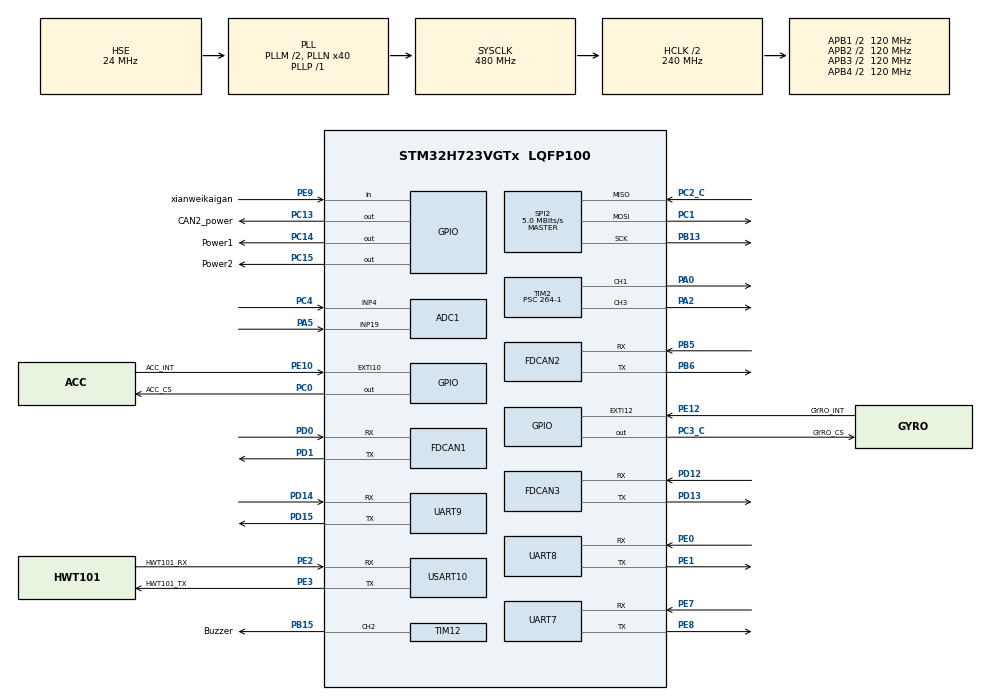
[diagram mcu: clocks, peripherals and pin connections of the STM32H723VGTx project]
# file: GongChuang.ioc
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ADC1.Channel-5\#ChannelRegularConversion=ADC_CHANNEL_4
ADC1.Channel-6\#ChannelRegularConversion=ADC_CHANNEL_19
ADC1.ClockPrescaler=ADC_CLOCK_ASYNC_DIV64
ADC1.ContinuousConvMode=ENABLE
ADC1.ConversionDataManagement=ADC_CONVERSIONDATA_DMA_CIRCULAR
ADC1.NbrOfConversion=2
ADC1.NbrOfConversionFlag=1
ADC1.OffsetNumber-5\#ChannelRegularConversion=ADC_OFFSET_NONE
ADC1.OffsetNumber-6\#ChannelRegularConversion=ADC_OFFSET_NONE
ADC1.OffsetSignedSaturation-5\#ChannelRegularConversion=DISABLE
ADC1.OffsetSignedSaturation-6\#ChannelRegularConversion=DISABLE
ADC1.Rank-5\#ChannelRegularConversion=1
ADC1.Rank-6\#ChannelRegularConversion=2
ADC1.SamplingTime-5\#ChannelRegularConversion=ADC_SAMPLETIME_32CYCLES_5
ADC1.SamplingTime-6\#ChannelRegularConversion=ADC_SAMPLETIME_32CYCLES_5
ADC1.master=1
CORTEX_M7.default_mode_Activation=0
Dma.ADC1.0.Direction=DMA_PERIPH_TO_MEMORY
Dma.ADC1.0.EventEnable=DISABLE
Dma.ADC1.0.FIFOMode=DMA_FIFOMODE_DISABLE
Dma.ADC1.0.Instance=DMA1_Stream0
Dma.ADC1.0.MemDataAlignment=DMA_MDATAALIGN_HALFWORD
Dma.ADC1.0.MemInc=DMA_MINC_ENABLE
Dma.ADC1.0.Mode=DMA_CIRCULAR
Dma.ADC1.0.PeriphDataAlignment=DMA_PDATAALIGN_HALFWORD
Dma.ADC1.0.PeriphInc=DMA_PINC_DISABLE
Dma.ADC1.0.Polarity=HAL_DMAMUX_REQ_GEN_RISING
Dma.ADC1.0.Priority=DMA_PRIORITY_LOW
Dma.ADC1.0.RequestNumber=1
Dma.ADC1.0.SignalID=NONE
Dma.ADC1.0.SyncEnable=DISABLE
Dma.ADC1.0.SyncPolarity=HAL_DMAMUX_SYNC_NO_EVENT
Dma.ADC1.0.SyncRequestNumber=1
Dma.ADC1.0.SyncSignalID=NONE
Dma.Request0=ADC1
Dma.Request1=USART10_RX
Dma.Request2=UART9_RX
Dma.Request3=UART7_RX
Dma.Request4=UART8_RX
Dma.UART7_RX.3.Direction=DMA_PERIPH_TO_MEMORY
Dma.UART7_RX.3.EventEnable=DISABLE
Dma.UART7_RX.3.FIFOMode=DMA_FIFOMODE_DISABLE
Dma.UART7_RX.3.Instance=DMA1_Stream3
Dma.UART7_RX.3.MemDataAlignment=DMA_MDATAALIGN_BYTE
Dma.UART7_RX.3.MemInc=DMA_MINC_ENABLE
Dma.UART7_RX.3.Mode=DMA_NORMAL
Dma.UART7_RX.3.PeriphDataAlignment=DMA_PDATAALIGN_BYTE
Dma.UART7_RX.3.PeriphInc=DMA_PINC_DISABLE
Dma.UART7_RX.3.Polarity=HAL_DMAMUX_REQ_GEN_RISING
Dma.UART7_RX.3.Priority=DMA_PRIORITY_HIGH
Dma.UART7_RX.3.RequestNumber=1
Dma.UART7_RX.3.SignalID=NONE
Dma.UART7_RX.3.SyncEnable=DISABLE
Dma.UART7_RX.3.SyncPolarity=HAL_DMAMUX_SYNC_NO_EVENT
Dma.UART7_RX.3.SyncRequestNumber=1
Dma.UART7_RX.3.SyncSignalID=NONE
Dma.UART8_RX.4.Direction=DMA_PERIPH_TO_MEMORY
Dma.UART8_RX.4.EventEnable=DISABLE
Dma.UART8_RX.4.FIFOMode=DMA_FIFOMODE_DISABLE
Dma.UART8_RX.4.Instance=DMA1_Stream4
Dma.UART8_RX.4.MemDataAlignment=DMA_MDATAALIGN_BYTE
Dma.UART8_RX.4.MemInc=DMA_MINC_ENABLE
Dma.UART8_RX.4.Mode=DMA_CIRCULAR
Dma.UART8_RX.4.PeriphDataAlignment=DMA_PDATAALIGN_BYTE
Dma.UART8_RX.4.PeriphInc=DMA_PINC_DISABLE
Dma.UART8_RX.4.Polarity=HAL_DMAMUX_REQ_GEN_RISING
Dma.UART8_RX.4.Priority=DMA_PRIORITY_VERY_HIGH
Dma.UART8_RX.4.RequestNumber=1
Dma.UART8_RX.4.SignalID=NONE
Dma.UART8_RX.4.SyncEnable=DISABLE
Dma.UART8_RX.4.SyncPolarity=HAL_DMAMUX_SYNC_NO_EVENT
Dma.UART8_RX.4.SyncRequestNumber=1
Dma.UART8_RX.4.SyncSignalID=NONE
Dma.UART9_RX.2.Direction=DMA_PERIPH_TO_MEMORY
Dma.UART9_RX.2.EventEnable=DISABLE
Dma.UART9_RX.2.FIFOMode=DMA_FIFOMODE_DISABLE
Dma.UART9_RX.2.Instance=DMA1_Stream2
Dma.UART9_RX.2.MemDataAlignment=DMA_MDATAALIGN_BYTE
Dma.UART9_RX.2.MemInc=DMA_MINC_ENABLE
Dma.UART9_RX.2.Mode=DMA_CIRCULAR
Dma.UART9_RX.2.PeriphDataAlignment=DMA_PDATAALIGN_BYTE
Dma.UART9_RX.2.PeriphInc=DMA_PINC_DISABLE
Dma.UART9_RX.2.Polarity=HAL_DMAMUX_REQ_GEN_RISING
Dma.UART9_RX.2.Priority=DMA_PRIORITY_VERY_HIGH
Dma.UART9_RX.2.RequestNumber=1
Dma.UART9_RX.2.SignalID=NONE
Dma.UART9_RX.2.SyncEnable=DISABLE
Dma.UART9_RX.2.SyncPolarity=HAL_DMAMUX_SYNC_NO_EVENT
Dma.UART9_RX.2.SyncRequestNumber=1
Dma.UART9_RX.2.SyncSignalID=NONE
Dma.USART10_RX.1.Direction=DMA_PERIPH_TO_MEMORY
Dma.USART10_RX.1.EventEnable=DISABLE
Dma.USART10_RX.1.FIFOMode=DMA_FIFOMODE_DISABLE
Dma.USART10_RX.1.Instance=DMA1_Stream1
Dma.USART10_RX.1.MemDataAlignment=DMA_MDATAALIGN_BYTE
Dma.USART10_RX.1.MemInc=DMA_MINC_ENABLE
Dma.USART10_RX.1.Mode=DMA_CIRCULAR
Dma.USART10_RX.1.PeriphDataAlignment=DMA_PDATAALIGN_BYTE
Dma.USART10_RX.1.PeriphInc=DMA_PINC_DISABLE
Dma.USART10_RX.1.Polarity=HAL_DMAMUX_REQ_GEN_RISING
Dma.USART10_RX.1.Priority=DMA_PRIORITY_HIGH
Dma.USART10_RX.1.RequestNumber=1
Dma.USART10_RX.1.SignalID=NONE
Dma.USART10_RX.1.SyncEnable=DISABLE
Dma.USART10_RX.1.SyncPolarity=HAL_DMAMUX_SYNC_NO_EVENT
Dma.USART10_RX.1.SyncRequestNumber=1
Dma.USART10_RX.1.SyncSignalID=NONE
FDCAN1.AutoRetransmission=ENABLE
FDCAN1.CalculateBaudRateNominal=1000000
FDCAN1.CalculateTimeBitNominal=1000
FDCAN1.CalculateTimeQuantumNominal=12.5
FDCAN1.DataSyncJumpWidth=2
FDCAN1.DataTimeSeg1=13
FDCAN1.DataTimeSeg2=2
FDCAN1.ExtFiltersNbr=4
FDCAN1.NominalPrescaler=1
FDCAN1.NominalSyncJumpWidth=20
FDCAN1.NominalTimeSeg1=59
FDCAN1.NominalTimeSeg2=20
FDCAN1.ProtocolException=ENABLE
FDCAN1.RxBuffersNbr=2
FDCAN1.RxFifo0ElmtsNbr=8
FDCAN1.RxFifo1ElmtsNbr=8
FDCAN1.StdFiltersNbr=4
FDCAN1.TxBuffersNbr=8
FDCAN1.TxEventsNbr=8
FDCAN1.TxFifoQueueElmtsNbr=8
FDCAN2.AutoRetransmission=ENABLE
FDCAN2.CalculateBaudRateNominal=1000000
FDCAN2.CalculateTimeBitNominal=1000
FDCAN2.CalculateTimeQuantumNominal=12.5
FDCAN2.DataSyncJumpWidth=2
FDCAN2.DataTimeSeg1=13
FDCAN2.ExtFiltersNbr=4
FDCAN2.MessageRAMOffset=0x406
FDCAN2.NominalPrescaler=1
FDCAN2.NominalSyncJumpWidth=20
FDCAN2.NominalTimeSeg1=59
FDCAN2.NominalTimeSeg2=20
FDCAN2.ProtocolException=ENABLE
FDCAN2.RxBuffersNbr=3
FDCAN2.RxFifo0ElmtsNbr=8
FDCAN2.RxFifo1ElmtsNbr=8
FDCAN2.StdFiltersNbr=4
FDCAN2.TxBuffersNbr=8
FDCAN2.TxEventsNbr=8
FDCAN2.TxFifoQueueElmtsNbr=8
FDCAN3.CalculateBaudRateNominal=1000000
FDCAN3.CalculateTimeBitNominal=1000
FDCAN3.CalculateTimeQuantumNominal=12.5
FDCAN3.DataSyncJumpWidth=2
FDCAN3.DataTimeSeg1=13
FDCAN3.DataTimeSeg2=2
FDCAN3.ExtFiltersNbr=4
FDCAN3.MessageRAMOffset=0x812
FDCAN3.NominalPrescaler=1
FDCAN3.NominalSyncJumpWidth=20
FDCAN3.NominalTimeSeg1=59
FDCAN3.NominalTimeSeg2=20
FDCAN3.RxBuffersNbr=2
FDCAN3.RxFifo0ElmtsNbr=8
FDCAN3.RxFifo1ElmtsNbr=8
FDCAN3.StdFiltersNbr=4
FDCAN3.TxBuffersNbr=8
FDCAN3.TxEventsNbr=8
FDCAN3.TxFifoQueueElmtsNbr=8
Mcu.Family=STM32H7
Mcu.Name=STM32H723VGTx
Mcu.Package=LQFP100
NVIC.DMA1_Stream0_IRQn=true\:0\:0\:false\:false\:true\:false\:true\:true
NVIC.DMA1_Stream1_IRQn=true\:0\:0\:false\:false\:true\:false\:true\:true
NVIC.DMA1_Stream2_IRQn=true\:0\:0\:false\:false\:true\:false\:true\:true
NVIC.DMA1_Stream3_IRQn=true\:0\:0\:false\:false\:true\:false\:true\:true
NVIC.DMA1_Stream4_IRQn=true\:0\:0\:false\:false\:true\:false\:true\:true
NVIC.FDCAN1_IT0_IRQn=true\:0\:0\:false\:false\:true\:true\:true\:true
NVIC.FDCAN1_IT1_IRQn=true\:0\:0\:false\:false\:true\:true\:true\:true
NVIC.FDCAN2_IT0_IRQn=true\:0\:0\:false\:false\:true\:true\:true\:true
NVIC.FDCAN2_IT1_IRQn=true\:0\:0\:false\:false\:true\:true\:true\:true
NVIC.PriorityGroup=NVIC_PRIORITYGROUP_4
NVIC.TIM6_DAC_IRQn=true\:1\:0\:true\:false\:true\:true\:true\:true
NVIC.TIM7_IRQn=true\:3\:0\:true\:false\:true\:true\:true\:true
NVIC.UART7_IRQn=true\:0\:0\:false\:false\:true\:true\:true\:true
NVIC.UART8_IRQn=true\:0\:0\:false\:false\:true\:true\:true\:true
NVIC.UART9_IRQn=true\:1\:0\:true\:false\:true\:true\:true\:true
NVIC.USART10_IRQn=true\:0\:0\:false\:false\:true\:true\:true\:true
PA0.Signal=S_TIM2_CH1_ETR
PA13(JTMS/SWDIO).Mode=Serial_Wire
PA13(JTMS/SWDIO).Signal=DEBUG_JTMS-SWDIO
PA14(JTCK/SWCLK).Mode=Serial_Wire
PA14(JTCK/SWCLK).Signal=DEBUG_JTCK-SWCLK
PA2.Signal=S_TIM2_CH3
PA5.Signal=ADCx_INP19
PA9.Signal=USART1_TX
PB13.GPIO_Speed=GPIO_SPEED_FREQ_VERY_HIGH
PB13.Mode=Full_Duplex_Master
PB13.Signal=SPI2_SCK
PB15.GPIO_Label=Buzzer
PB15.Signal=S_TIM12_CH2
PB5.Mode=FDCAN_Activate
PB5.Signal=FDCAN2_RX
PB6.Mode=FDCAN_Activate
PB6.Signal=FDCAN2_TX
PC0.GPIO_Label=ACC_CS
PC0.GPIO_Speed=GPIO_SPEED_FREQ_VERY_HIGH
PC0.PinState=GPIO_PIN_SET
PC0.Signal=GPIO_Output
PC1.Mode=Full_Duplex_Master
PC1.Signal=SPI2_MOSI
PC13.GPIO_Label=CAN2_power
PC13.Signal=GPIO_Output
PC14-OSC32_IN.GPIO_Label=Power1
PC14-OSC32_IN.PinState=GPIO_PIN_RESET
PC14-OSC32_IN.Signal=GPIO_Output
PC15-OSC32_OUT.GPIO_Label=Power2
PC15-OSC32_OUT.PinState=GPIO_PIN_RESET
PC15-OSC32_OUT.Signal=GPIO_Output
PC2_C.Mode=Full_Duplex_Master
PC2_C.Signal=SPI2_MISO
PC3_C.GPIO_Label=GYRO_CS
PC3_C.GPIO_Speed=GPIO_SPEED_FREQ_VERY_HIGH
PC3_C.PinState=GPIO_PIN_SET
PC3_C.Signal=GPIO_Output
PC4.Signal=ADCx_INP4
PD0.Mode=FDCAN_Activate
PD0.Signal=FDCAN1_RX
PD1.Mode=FDCAN_Activate
PD1.Signal=FDCAN1_TX
PD12.Mode=FDCAN_Activate
PD12.Signal=FDCAN3_RX
PD13.Mode=FDCAN_Activate
PD13.Signal=FDCAN3_TX
PD14.Mode=Asynchronous
PD14.Signal=UART9_RX
PD15.Mode=Asynchronous
PD15.Signal=UART9_TX
PE0.Mode=Asynchronous
PE0.Signal=UART8_RX
PE1.Mode=Asynchronous
PE1.Signal=UART8_TX
PE10.GPIO_Label=ACC_INT
PE10.Signal=GPXTI10
PE12.GPIO_Label=GYRO_INT
PE12.Signal=GPXTI12
PE2.GPIO_Label=HWT101_RX
PE2.Mode=Asynchronous
PE2.Signal=USART10_RX
PE3.GPIO_Label=HWT101_TX
PE3.Mode=Asynchronous
PE3.Signal=USART10_TX
PE7.Mode=Asynchronous
PE7.Signal=UART7_RX
PE8.Mode=Asynchronous
PE8.Signal=UART7_TX
PE9.GPIO_Label=xianweikaigan
PE9.GPIO_PuPd=GPIO_PULLUP
PE9.Signal=GPIO_Input
PH0-OSC_IN.Mode=HSE-External-Oscillator
PH0-OSC_IN.Signal=RCC_OSC_IN
PH1-OSC_OUT.Mode=HSE-External-Oscillator
PH1-OSC_OUT.Signal=RCC_OSC_OUT
ProjectManager.HeapSize=0x200
ProjectManager.StackSize=0x400
ProjectManager.TargetToolchain=MDK-ARM V5.32
RCC.ADCFreq_Value=96000000
RCC.APB1Freq_Value=120000000
RCC.APB2Freq_Value=120000000
RCC.APB3Freq_Value=120000000
RCC.APB4Freq_Value=120000000
RCC.CortexFreq_Value=480000000
RCC.D1PPRE=RCC_APB3_DIV2
RCC.D2PPRE1=RCC_APB1_DIV2
RCC.D2PPRE2=RCC_APB2_DIV2
RCC.D3PPRE=RCC_APB4_DIV2
RCC.DIVM1=2
RCC.DIVM2=2
RCC.DIVN1=40
RCC.DIVN2=16
RCC.DIVP1=1
RCC.DIVQ1=6
RCC.HCLKFreq_Value=240000000
RCC.HPRE=RCC_HCLK_DIV2
RCC.HSE_VALUE=24000000
RCC.PLL2FRACN=0
RCC.PLLFRACN=0
RCC.PLLSourceVirtual=RCC_PLLSOURCE_HSE
RCC.SYSCLKFreq_VALUE=480000000
RCC.SYSCLKSource=RCC_SYSCLKSOURCE_PLLCLK
RCC.USBFreq_Value=80000000
SH.ADCx_INP19.0=ADC1_INP19,IN19-Single-Ended
SH.ADCx_INP4.0=ADC1_INP4,IN4-Single-Ended
SH.S_TIM12_CH2.0=TIM12_CH2,PWM Generation2 CH2
SH.S_TIM2_CH1_ETR.0=TIM2_CH1,PWM Generation1 CH1
SH.S_TIM2_CH3.0=TIM2_CH3,PWM Generation3 CH3
SPI2.BaudRatePrescaler=SPI_BAUDRATEPRESCALER_16
SPI2.CLKPhase=SPI_PHASE_2EDGE
SPI2.CLKPolarity=SPI_POLARITY_HIGH
SPI2.CalculateBaudRate=5.0 MBits/s
SPI2.DataSize=SPI_DATASIZE_8BIT
SPI2.Direction=SPI_DIRECTION_2LINES
SPI2.Mode=SPI_MODE_MASTER
SPI2.VirtualType=VM_MASTER
TIM12.Channel-PWM\ Generation2\ CH2=TIM_CHANNEL_2
TIM12.Period=2000-1
TIM12.Prescaler=24-1
TIM12.Pulse-PWM\ Generation2\ CH2=0
TIM2.Channel-PWM\ Generation1\ CH1=TIM_CHANNEL_1
TIM2.Channel-PWM\ Generation3\ CH3=TIM_CHANNEL_3
TIM2.Period=20000-1
TIM2.Prescaler=264-1
TIM6.Period=240-1
TIM6.Prescaler=15000-1
TIM7.Period=240-1
TIM7.Prescaler=20000-1
USART10.VirtualMode=VM_ASYNC
VP_TIM6_VS_ClockSourceINT.Mode=Enable_Timer
VP_TIM7_VS_ClockSourceINT.Mode=Enable_Timer
board=custom

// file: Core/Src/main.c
/* USER CODE BEGIN Header */
/**
 ******************************************************************************
 * @file           : main.c
 * @brief          : Main program body
 ******************************************************************************
 * @attention
 *
 * Copyright (c) 2024 STMicroelectronics.
 * All rights reserved.
 *
 * This software is licensed under terms that can be found in the LICENSE file
 * in the root directory of this software component.
 * If no LICENSE file comes with this software, it is provided AS-IS.
 *
 ******************************************************************************
 */
/* USER CODE END Header */
#include "main.h"
#include "adc.h"
#include "dma.h"
#include "fdcan.h"
#include "spi.h"
#include "tim.h"
#include "usart.h"
#include "gpio.h"

/* USER CODE BEGIN Includes */

#include "PowerWarning.h"
#include "Hardware_Task.h"
#include "Task_Management.h"
#include "bsp_fdcan.h"
#include "dm4310_drv.h"
#include "Motor_can.h"
#include "BMI088driver.h"
#include "BMI088reg.h"
#include "BMI088Middleware.h"
#include "MahonyAHRS.h"
#include "MyClaw.h"
#include "MyCarControl.h"
#include "MyLift.h"
#include "MyTurnPlate.h"
#include "MyArm.h"
/* USER CODE END Includes */

/* USER CODE BEGIN PV */
// 电源检测
uint16_t adc_val[2];
float vbus;
// 串口DMA空闲中断配置

uint8_t UART10_RX_BUF[UART10_RX_LEN];        // 缓存一
uint8_t UART10_RX_Second_BUF[UART10_RX_LEN]; // 缓存二
__IO uint16_t UART10_RX_STA = 0;             // 字节数

uint8_t UART7_RX_BUF[UART7_RX_LEN];        // 缓存一
uint8_t UART7_RX_Second_BUF[UART7_RX_LEN]; // 缓存二
__IO uint16_t UART7_RX_STA = 0;             // 字节数

uint8_t UART9_RX_BUF[UART9_RX_LEN];        // 缓存一
uint8_t UART9_RX_Second_BUF[UART9_RX_LEN]; // 缓存二
__IO uint16_t UART9_RX_STA = 0;             // 字节数

char UART9_flag=0;

uint8_t UART8_RX_BUF[UART8_RX_LEN];//缓存一
uint8_t UART8_RX_Second_BUF[UART8_RX_LEN];//缓存二
__IO uint16_t UART8_RX_STA = 0;	 //字节数
// 陀螺仪
float gyro[3], accel[3], temp;
// 电机
extern motor_t motor[num];
/* USER CODE END PV */

void SystemClock_Config(void);

int main(void)
{

  /* MCU Configuration--------------------------------------------------------*/

  /* Reset of all peripherals, Initializes the Flash interface and the Systick. */
  HAL_Init();

  /* Configure the system clock */
  SystemClock_Config();

  /* Initialize all configured peripherals */
  MX_GPIO_Init();
  MX_DMA_Init();
  MX_TIM12_Init();
  MX_TIM6_Init();
  MX_TIM7_Init();
  MX_ADC1_Init();
  MX_FDCAN1_Init();
  MX_FDCAN2_Init();
  MX_FDCAN3_Init();
  MX_USART10_UART_Init();
  MX_UART9_Init();
  MX_SPI2_Init();
  MX_TIM2_Init();
  MX_UART7_Init();
  MX_UART8_Init();
  /* USER CODE BEGIN 2 */
  // 陀螺仪初始化
  Mahony_Init(66.67);
  while (BMI088_init())
  {
    ;
  }

  // 电源开启
  HAL_GPIO_WritePin(GPIOC, GPIO_PIN_14, 1);
  HAL_GPIO_WritePin(GPIOC, GPIO_PIN_15, 1);
  HAL_GPIO_WritePin(GPIOC, GPIO_PIN_13, 1);
  // 启用串口空闲中断
  //  HAL_UART_Receive_DMA(&huart1, (uint8_t *)UART1_RX_BUF, UART1_RX_LEN);
//    __HAL_UART_ENABLE_IT(&huart1, UART_IT_IDLE);
      HAL_UART_Receive_DMA(&huart10, (uint8_t *)UART10_RX_BUF, UART10_RX_LEN);
    __HAL_UART_ENABLE_IT(&huart10, UART_IT_IDLE);
      HAL_UART_Receive_DMA(&huart7, (uint8_t *)UART7_RX_BUF, UART7_RX_LEN);
    __HAL_UART_ENABLE_IT(&huart7, UART_IT_IDLE);
      HAL_UART_Receive_DMA(&huart9, (uint8_t *)UART9_RX_BUF, UART9_RX_LEN);
   __HAL_UART_ENABLE_IT(&huart9, UART_IT_IDLE);
  	HAL_UART_Receive_DMA(&huart8, UART8_RX_BUF, UART8_RX_LEN);
	__HAL_UART_ENABLE_IT(&huart8, UART_IT_IDLE);//开启空闲中断
  // 电源ADC
  HAL_ADCEx_Calibration_Start(&hadc1, ADC_CALIB_OFFSET, ADC_SINGLE_ENDED);
  HAL_ADC_Start_DMA(&hadc1, (uint32_t *)adc_val, 2);
  // 开启蜂鸣器
  HAL_TIM_PWM_Start(&htim12, TIM_CHANNEL_2);
  // 陀螺仪置零
  //  ResetHWT101();
  // Can初始化
  HAL_Delay(3000);
  bsp_can_init();
  // 电机初始化

  dm4310_motor_init();
  dm4310_clear_err(&hfdcan1, &motor[Motor1]);
  HAL_Delay(5);
  dm4310_clear_err(&hfdcan1, &motor[Motor2]);
  HAL_Delay(5);
  dm4310_clear_err(&hfdcan2, &motor[Motor3]);
  HAL_Delay(5);
  dm4310_clear_err(&hfdcan2, &motor[Motor4]);
  HAL_Delay(5);
  dm4310_clear_err(&hfdcan1, &motor[Motor5]);
  HAL_Delay(5);
  dm4310_clear_err(&hfdcan2, &motor[Motor6]);

  dm4310_enable(&hfdcan1, &motor[Motor1]);
  HAL_Delay(5);
  dm4310_enable(&hfdcan1, &motor[Motor2]);
  HAL_Delay(5);
  dm4310_enable(&hfdcan2, &motor[Motor3]);
  HAL_Delay(5);
  dm4310_enable(&hfdcan2, &motor[Motor4]);
  HAL_Delay(5);
  dm4310_enable(&hfdcan1, &motor[Motor5]);
  HAL_Delay(5);
  dm4310_enable(&hfdcan2, &motor[Motor6]);
//  HAL_Delay(100);
  //机械爪初始化
  MyArm_Init(&Arm);
	MyTurnPlate_Init(&TurnPlate);
	MyClaw_Init(&Claw);
//	MyCarControl_Init(&Car,0.02);
	MyLift_Init(&Lift);

  // 打开定时器中断
  HAL_TIM_Base_Start_IT(&htim6);
  HAL_TIM_Base_Start_IT(&htim7);
    // 开启PWM
  HAL_TIM_PWM_Start(&htim2, TIM_CHANNEL_1);
  HAL_TIM_PWM_Start(&htim2, TIM_CHANNEL_3);

//  uint8_t temp[] = {'p', 'a', 'g', 'e', '0', '.', 't', '1', '.', 't', 'x', 't', '=', '\"', '1', '2', '3', '+', '3', '2', '1', '\"', 0xff, 0xff, 0xff};
//  HAL_UART_Transmit(&huart8, temp, 25, 0xffff);

  /* USER CODE END 2 */

  /* Infinite loop */
  while (1)
  {

    /* USER CODE BEGIN 3 */
    //	  uint8_t tx_data[8] = {0,1,2,3,4,5,6,7};
    //
    //	  		fdcanx_send_data(&hfdcan1, 0x520, tx_data, 8);
    //		HAL_Delay(100);
    //
    //		fdcanx_send_data(&hfdcan2, 0x520, tx_data, 8);
    //		HAL_Delay(100);
    //
    //		fdcanx_send_data(&hfdcan3, 0x520, tx_data, 8);
    //		HAL_Delay(100);

    Low_Task();
    //		//设置零点
    //	save_pos_zero(&hfdcan1,motor[Motor5].id,motor[Motor5].cmd.mode);
    HAL_Delay(1);
  }
  /* USER CODE END 3 */
}

void SystemClock_Config(void)
{
  RCC_OscInitTypeDef RCC_OscInitStruct = {0};
  RCC_ClkInitTypeDef RCC_ClkInitStruct = {0};

  /** Supply configuration update enable
  */
  HAL_PWREx_ConfigSupply(PWR_LDO_SUPPLY);

  /** Configure the main internal regulator output voltage
  */
  __HAL_PWR_VOLTAGESCALING_CONFIG(PWR_REGULATOR_VOLTAGE_SCALE0);

  while(!__HAL_PWR_GET_FLAG(PWR_FLAG_VOSRDY)) {}

  /** Initializes the RCC Oscillators according to the specified parameters
  * in the RCC_OscInitTypeDef structure.
  */
  RCC_OscInitStruct.OscillatorType = RCC_OSCILLATORTYPE_HSE;
  RCC_OscInitStruct.HSEState = RCC_HSE_ON;
  RCC_OscInitStruct.PLL.PLLState = RCC_PLL_ON;
  RCC_OscInitStruct.PLL.PLLSource = RCC_PLLSOURCE_HSE;
  RCC_OscInitStruct.PLL.PLLM = 2;
  RCC_OscInitStruct.PLL.PLLN = 40;
  RCC_OscInitStruct.PLL.PLLP = 1;
  RCC_OscInitStruct.PLL.PLLQ = 6;
  RCC_OscInitStruct.PLL.PLLR = 2;
  RCC_OscInitStruct.PLL.PLLRGE = RCC_PLL1VCIRANGE_3;
  RCC_OscInitStruct.PLL.PLLVCOSEL = RCC_PLL1VCOWIDE;
  RCC_OscInitStruct.PLL.PLLFRACN = 0;
  if (HAL_RCC_OscConfig(&RCC_OscInitStruct) != HAL_OK)
  {
    Error_Handler();
  }

  /** Initializes the CPU, AHB and APB buses clocks
  */
  RCC_ClkInitStruct.ClockType = RCC_CLOCKTYPE_HCLK|RCC_CLOCKTYPE_SYSCLK
                              |RCC_CLOCKTYPE_PCLK1|RCC_CLOCKTYPE_PCLK2
                              |RCC_CLOCKTYPE_D3PCLK1|RCC_CLOCKTYPE_D1PCLK1;
  RCC_ClkInitStruct.SYSCLKSource = RCC_SYSCLKSOURCE_PLLCLK;
  RCC_ClkInitStruct.SYSCLKDivider = RCC_SYSCLK_DIV1;
  RCC_ClkInitStruct.AHBCLKDivider = RCC_HCLK_DIV2;
  RCC_ClkInitStruct.APB3CLKDivider = RCC_APB3_DIV2;
  RCC_ClkInitStruct.APB1CLKDivider = RCC_APB1_DIV2;
  RCC_ClkInitStruct.APB2CLKDivider = RCC_APB2_DIV2;
  RCC_ClkInitStruct.APB4CLKDivider = RCC_APB4_DIV2;

  if (HAL_RCC_ClockConfig(&RCC_ClkInitStruct, FLASH_LATENCY_3) != HAL_OK)
  {
    Error_Handler();
  }
}

void Error_Handler(void)
{
  __disable_irq();
  while (1)
  {
  }
}
